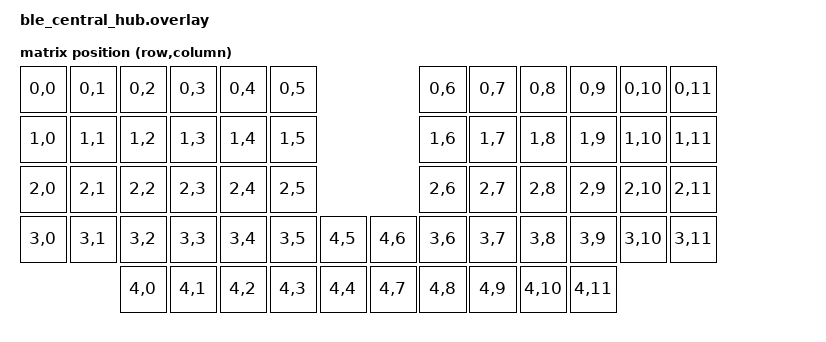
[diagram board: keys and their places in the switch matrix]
/*
 * SPDX-License-Identifier: MIT
 */

#include <dt-bindings/zmk/matrix_transform.h>
#include <layouts/josefadamcik/sofle.dtsi>
#include "../adeptble/adeptble_split_inputs.dtsi"

&josefadamcik_sofle_layout {
    transform = <&default_transform>;
};

/ {
    chosen {
        zmk,kscan = &kscan0;
        zmk,physical-layout = &josefadamcik_sofle_layout;
    };

    default_transform: keymap_transform_0 {
        compatible = "zmk,matrix-transform";
        columns = <16>;
        rows = <4>;
        map = <
RC(0,0) RC(0,1) RC(0,2) RC(0,3) RC(0,4) RC(0,5)                 RC(0,6) RC(0,7) RC(0,8)  RC(0,9) RC(0,10) RC(0,11)
RC(1,0) RC(1,1) RC(1,2) RC(1,3) RC(1,4) RC(1,5)                 RC(1,6) RC(1,7) RC(1,8)  RC(1,9) RC(1,10) RC(1,11)
RC(2,0) RC(2,1) RC(2,2) RC(2,3) RC(2,4) RC(2,5)                 RC(2,6) RC(2,7) RC(2,8)  RC(2,9) RC(2,10) RC(2,11)
RC(3,0) RC(3,1) RC(3,2) RC(3,3) RC(3,4) RC(3,5) RC(4,5) RC(4,6) RC(3,6) RC(3,7) RC(3,8)  RC(3,9) RC(3,10) RC(3,11)
                RC(4,0) RC(4,1) RC(4,2) RC(4,3) RC(4,4) RC(4,7) RC(4,8) RC(4,9) RC(4,10) RC(4,11)
        >;
    };

    kscan0: kscan {
        compatible = "zmk,kscan-mock";
        events = <>;
    };
};

/* Disable the board's default CDC-ACM console UART so only the Studio RPC
 * UART is exposed. Without this the XIAO BLE presents two CDC-ACM interfaces
 * and macOS shows four serial ports (tty+cu for each), filling ZMK Studio's
 * device picker with duplicates. */
&board_cdc_acm_uart {
    status = "disabled";
};

/* The board's chosen zephyr,console (and related) still points to
 * board_cdc_acm_uart which is now disabled, causing uart_console.c to fail
 * to compile because no device struct is generated for a disabled node.
 * For the regular build, redirect to the Studio RPC UART.
 * For the settings_reset build, remove the console chosen entirely since
 * no USB console is needed. */
#ifdef BLE_CENTRAL_HUB_SETTINGS_RESET
/ {
    chosen {
        /delete-property/ zephyr,console;
        /delete-property/ zephyr,shell-uart;
        /delete-property/ zephyr,uart-mcumgr;
        /delete-property/ zephyr,bt-mon-uart;
        /delete-property/ zephyr,bt-c2h-uart;
    };
};
#else
/ {
    chosen {
        zephyr,console = &snippet_studio_rpc_usb_uart;
        zephyr,shell-uart = &snippet_studio_rpc_usb_uart;
        zephyr,uart-mcumgr = &snippet_studio_rpc_usb_uart;
        zephyr,bt-mon-uart = &snippet_studio_rpc_usb_uart;
        zephyr,bt-c2h-uart = &snippet_studio_rpc_usb_uart;
    };
};
#endif

&adeptble_trackball_listener {
    status = "okay";
};

&adeptble_buttons_listener {
    status = "okay";
};
